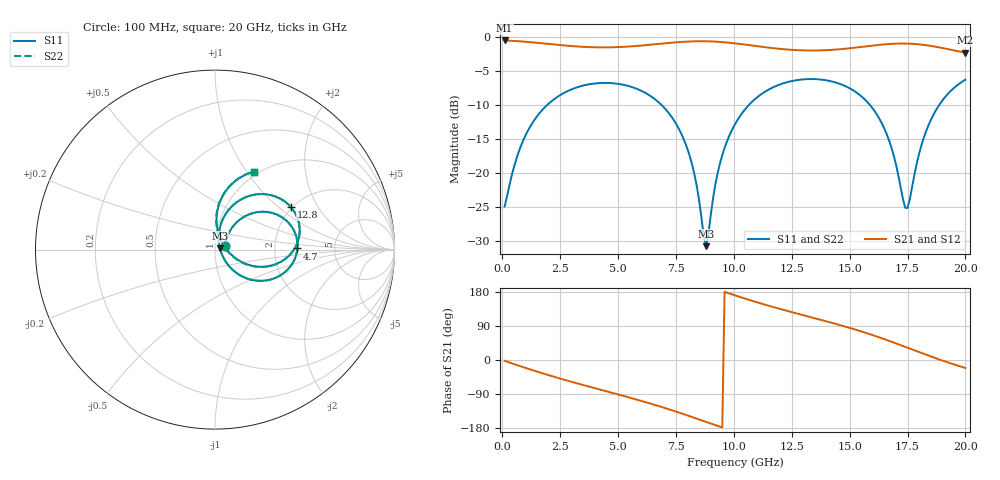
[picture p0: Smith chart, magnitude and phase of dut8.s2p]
! Touchstone file exported from HFSS 2026.1.0
!  File:  C:/ffzhzh/LocalFiles/Ansys_Project_Files/temp_train_TSV_RDL_8_1782960804_15332.aedt
!  Generated:  11:07:59 AM Jul  2, 2026
!  Design:  TSV_RDL
!  Project:  temp_train_TSV_RDL_8_1782960804_15332
! Variables:
!  h_bsmrdl = 3.98um
!  h_ox = 20um
!  h_rdl = 5um
!  h_sub = 79.74um
!  h_tmrdl = 2.24um
!  h_tsv = 79.74um
!  h_via = 3um
!  l_bsmrdl = 706.77um
!  l_sub = 5657.28um
!  l_tmrdl = 756.74um
!  m_sub = 200um
!  pitch = 40.79um
!  r_tsv = 14.22um
!  s_tmrdl = 10um
!  w_bsmrdl = 26.65um
!  w_sub = 500um
!  w_tmrdl = 10.02um
!  x_tsv_center1 = 761.75um
!  x_tsv_center2 = 1495.17um
!  x_tsv_center3 = 2261.93um
!  x_tsv_center4 = 2995.35um
!  x_tsv_center5 = 3762.11um
!  x_tsv_center6 = 4495.53um
# GHz S MA R 50.000000
! Terminal data exported
! Port[1] = TM_RDL1_1_T1
! Port[2] = TM_RDL5_1_T1
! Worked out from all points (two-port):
!   200 points, 100 MHz to 20 GHz, reference 50 ohm
!   highest |S21| = -0.47 dB at 100 MHz (marker M1); lowest = -2.3 dB at 20 GHz (marker M2)
!   |S21| within 3 dB of the highest: start of sweep to end of sweep
!   lowest |S11| = -30.8 dB at 8.8 GHz (marker M3), VSWR 1.06, Z = 52.8 + j0.817 ohm
!   |S11| at or under -10 dB: start of sweep to 1.938 GHz; 6.878 GHz to 10.65 GHz (3.771 GHz wide, 43 % of centre); 15.88 GHz to 18.87 GHz (2.992 GHz wide, 17.2 % of centre)
!   |S22| runs from -30.9 to -6.2 dB; largest |S21 - S12| = 1.6e-14
!   S11 on the Smith chart (normalised r, x): 100 MHz: 1.11, +0.04; 4.7 GHz: 2.70, +0.04; 12.8 GHz: 1.97, +1.22; 20 GHz: 0.96, +1.09
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0.1  0.05638 18.7  0.9471 -2.2  0.9471 -2.2  0.05638 18.7
! Gamma 0 0 0 0
! Port Impedance 50 0 50 0
0.7  0.1413 51.8  0.9351 -14.7  0.9351 -14.7  0.1413 51.8
1.3  0.233 49.3  0.9169 -26.7  0.9169 -26.7  0.233 49.3
2.3  0.3554 36.2  0.8816 -45.5  0.8816 -45.5  0.3555 36.2
3.5  0.4405 18.6  0.8494 -66.1  0.8494 -66.1  0.4406 18.5
4.7  0.4589 0.8  0.8431 -85.8  0.8431 -85.8  0.4589 0.8
6.8  0.3257 -32.0  0.8948 -122.4  0.8948 -122.4  0.3257 -32.1
8  0.1492 -48.9  0.9294 -146.4  0.9294 -146.4  0.1491 -49.0
8.4  0.07964 -46.9  0.9343 -154.8  0.9343 -154.8  0.07952 -47.2
8.8  0.02873 15.6  0.9342 -163.3  0.9342 -163.3  0.02837 15.5
9.4  0.1171 77.4  0.9241 -176.0  0.9241 -176.0  0.117 77.5
10.1  0.2361 70.8  0.8999 169.6  0.8999 169.6  0.2361 70.9
11.2  0.3818 53.6  0.851 148.6  0.851 148.6  0.3818 53.5
12.8  0.4848 29.1  0.8021 121.5  0.8021 121.5  0.4848 29.0
13.4  0.4916 20.3  0.7981 111.8  0.7981 111.8  0.4916 20.2
15.4  0.3793 -9.6  0.8443 77.4  0.8443 77.4  0.3792 -9.9
16.7  0.174 -25.0  0.8915 50.6  0.8915 50.6  0.1735 -25.6
17.4  0.05521 19.3  0.8985 34.7  0.8985 34.7  0.05311 18.7
17.5  0.05499 41.4  0.8977 32.4  0.8977 32.4  0.05281 41.7
18  0.138 85.9  0.8863 20.8  0.8863 20.8  0.137 86.7
18.5  0.2437 85.4  0.8637 9.5  0.8637 9.5  0.2431 85.8
20  0.4856 63.3  0.7686 -21.0  0.7686 -21.0  0.4853 63.5
